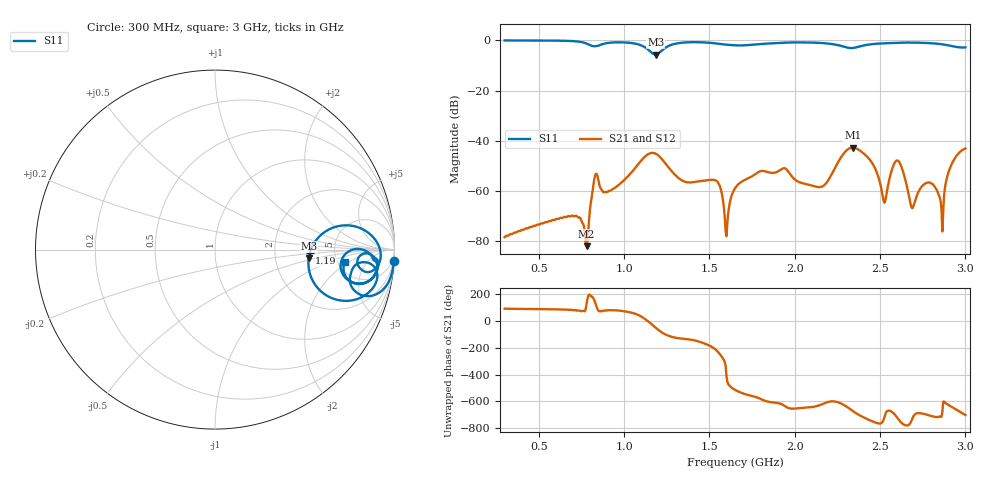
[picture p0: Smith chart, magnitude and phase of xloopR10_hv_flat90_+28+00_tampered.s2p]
! xloopR10_hv_flat90_+28+00_tampered, gap C 0.80 pF
! simulated by sim/fixtures_fdtd.py (S12 = S21, S22 not computed)
# HZ S RI R 50
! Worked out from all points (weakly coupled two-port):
!   541 points, 300 MHz to 3 GHz, reference 50 ohm
!   highest |S21| = -42.67 dB at 2.34 GHz (marker M1); lowest = -81.9 dB at 780 MHz (marker M2)
!   lowest |S11| = -5.6 dB at 1.185 GHz (marker M3), VSWR 3.20, Z = 157 - j20.8 ohm
!   |S11| at or under -10 dB: nowhere
!   |S22| runs from - to - dB; largest |S21 - S12| = 0
!   S11 on the Smith chart (normalised r, x): 300 MHz: 0, -33; 1.19 GHz: 3.22, -0.19; 3 GHz: 5.80, -1.73
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3e8  0.9972 -0.0611  3e-06 0.000121  3e-06 0.000121  0 0
7.5e8  0.8932 -0.251  8.83e-05 0.000241  8.83e-05 0.000241  0 0
7.8e8  0.8278 -0.2567  -4.56e-05 6.56e-05  -4.56e-05 6.56e-05  0 0
8.35e8  0.7602 -0.122  -0.00103 0.00196  -0.00103 0.00196  0 0
9.1e8  0.8898 -0.0995  0.000216 0.000975  0.000216 0.000975  0 0
1.185e9  0.5219 -0.0481  0.00337 -0.00442  0.00337 -0.00442  0 0
1.19e9  0.5273 -0.0208  0.00288 -0.00461  0.00288 -0.00461  0 0
1.2e9  0.5481 0.0296  0.00191 -0.00476  0.00191 -0.00476  0 0
1.545e9  0.8571 -0.1253  -0.00109 0.00111  -0.00109 0.00111  0 0
1.6e9  0.8148 -0.1104  7.72e-05 -9.94e-05  7.72e-05 -9.94e-05  0 0
1.65e9  0.7956 -0.083  -0.00102 -0.000501  -0.00102 -0.000501  0 0
1.935e9  0.8961 -0.049  -8.49e-05 0.00284  -8.49e-05 0.00284  0 0
2.1e9  0.8964 -0.1334  0.000257 0.00126  0.000257 0.00126  0 0
2.34e9  0.7045 -0.0604  0.00481 0.00556  0.00481 0.00556  0 0
2.525e9  0.8761 -0.0418  0.000586 1.23e-05  0.000586 1.23e-05  0 0
2.55e9  0.8808 -0.0519  0.000905 0.00117  0.000905 0.00117  0 0
2.605e9  0.8954 -0.0661  0.00399 -0.000579  0.00399 -0.000579  0 0
2.685e9  0.8994 -0.1156  0.000436 -0.000169  0.000436 -0.000169  0 0
2.79e9  0.8685 -0.1665  0.00142 0.000397  0.00142 0.000397  0 0
2.865e9  0.8139 -0.1916  0.000117 0.000104  0.000117 0.000104  0 0
2.91e9  0.7643 -0.1827  0.000142 0.00287  0.000142 0.00287  0 0
3e9  0.7238 -0.0705  0.00667 0.00228  0.00667 0.00228  0 0
